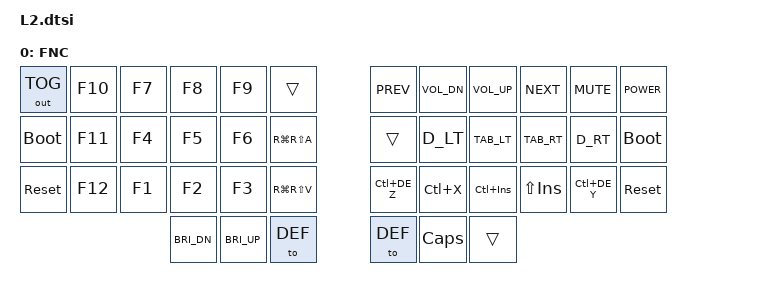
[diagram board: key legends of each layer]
/**
 * Function / System Layer
 */

/ {
  keymap {
    compatible = "zmk,keymap";

    layer_2 {
      label = "FNC";
      bindings = <
// ╭───────────────┬───────────────┬───────────────┬───────────────┬───────────────┬───────────────╮   ╭───────────────┬───────────────┬───────────────┬───────────────┬───────────────┬───────────────╮
//  0               1               2               3               4               5                   6               7               8               9               10              11
    &out OUT_TOG    &kp F10         &kp F7          &kp F8          &kp F9          &trans              &kp C_PREV      &kp C_VOL_DN    &kp C_VOL_UP    &kp C_NEXT      &kp C_MUTE      &kp C_POWER
// ├───────────────├───────────────┼───────────────┼───────────────┼───────────────┼───────────────┤   ├───────────────├───────────────┼───────────────┼───────────────┼───────────────┼───────────────┤
//  12              13              14              15              16              17                  18              19              20              21              22              23
    &bootloader     &kp F11         &kp F4          &kp F5          &kp F6          &kp RG(RS(A))       &trans          &kp D_LT        &kp TAB_LT      &kp TAB_RT      &kp D_RT        &bootloader
// ├───────────────├───────────────┼───────────────┼───────────────┼───────────────┼───────────────┤   ├───────────────├───────────────┼───────────────┼───────────────┼───────────────┼───────────────┤
//  24              25              26              27              28              29                  30              31              32              33              34              35
    &sys_reset      &kp F12         &kp F1          &kp F2          &kp F3          &kp RG(RS(V))       &kp LC(DE_Z)    &kp LC(X)       &kp LC(INS)     &kp LS(INS)     &kp LC(DE_Y)    &sys_reset
// ╰───────────────┴───────────────┴───────────────┼───────────────┼───────────────┼───────────────┤   ├───────────────├───────────────┼───────────────┼───────────────┴───────────────┴───────────────╯
//                                                  36              37              38                  39              40              41
                                                    &kp C_BRI_DN    &kp C_BRI_UP    &to DEF             &to DEF         &kp CAPSLOCK    &trans
//                                                 ╰───────────────┴───────────────┴───────────────╯   ╰───────────────┴───────────────┴───────────────╯
      >;
    };
  };
};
